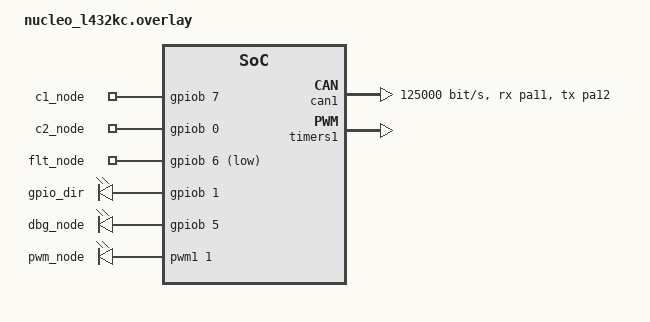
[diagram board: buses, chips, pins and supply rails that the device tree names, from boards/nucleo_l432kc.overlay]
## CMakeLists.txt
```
# SPDX-License-Identifier: Apache-2.0

cmake_minimum_required(VERSION 3.20.0)
find_package(Zephyr REQUIRED HINTS $ENV{ZEPHYR_BASE})
project(project4_canopen LANGUAGES C CXX)

target_sources(app PRIVATE
    src/main.cpp
    src/canopen.cpp
    src/state_machine.cpp
    src/zephyr_can_adapter.cpp
    src/motor_application.cpp
    ../lib/controllers/controllers.cpp
)

target_include_directories(app PRIVATE
    include
    ../lib/controllers
)

target_compile_options(app PRIVATE
    $<$<COMPILE_LANGUAGE:CXX>:-std=c++17>
)
```

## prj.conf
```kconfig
CONFIG_CPP=y
CONFIG_REQUIRES_FULL_LIBCPP=y
CONFIG_GLIBCXX_LIBCPP=y
CONFIG_GPIO=y
CONFIG_PWM=y
CONFIG_CAN=y
CONFIG_FPU=y

CONFIG_LOG=y
CONFIG_LOG_DEFAULT_LEVEL=3

CONFIG_MAIN_STACK_SIZE=4096
CONFIG_SYSTEM_WORKQUEUE_STACK_SIZE=2048

CONFIG_CPP_EXCEPTIONS=n
CONFIG_CPP_RTTI=n
```

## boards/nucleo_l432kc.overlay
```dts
#include <zephyr/dt-bindings/gpio/gpio.h>   /* GPIO_ACTIVE_LOW, GPIO_PULL_UP */
#include <zephyr/dt-bindings/pwm/pwm.h>   /* PWM_MSEC, PWM_POLARITY_NORMAL */

/ {
	chosen {
		zephyr,canbus = &can1;
	};

	aliases {
		c1-pin = &c1_node;
		c2-pin = &c2_node;
		pwm-pin = &pwm_node;
		gpio-dir = &gpio_dir;
		flt-pin = &flt_node;
		dbg-pin = &dbg_node;
	};

	inputs {
		compatible = "gpio-keys";
		c1_node: pin_b7 { /* d4 */
			gpios = <&gpiob 7 (GPIO_ACTIVE_HIGH | GPIO_PULL_UP)>;
		};
		c2_node: pin_b0 { /* d3 */
			gpios = <&gpiob 0 (GPIO_ACTIVE_HIGH | GPIO_PULL_UP)>;
		};

		flt_node: pin_b6 { /* d5 */
			gpios = <&gpiob 6 (GPIO_ACTIVE_LOW | GPIO_PULL_UP)>;
		};
	};

	gpio_outputs {
		compatible = "gpio-leds";

		gpio_dir: gpio_dir { /* d6 */
			gpios = <&gpiob 1 (GPIO_ACTIVE_HIGH)>;
		};

		dbg_node: dbg_node { /* d11, ISR latency measurement */
			gpios = <&gpiob 5 (GPIO_ACTIVE_HIGH)>;
		};
	};

	pwm_outputs {
		compatible = "pwm-leds";

		pwm_node: pwm_node {
			pwms = <&pwm1 1 PWM_USEC(120) PWM_POLARITY_NORMAL>; /* D9, 8.33 kHz */
		};
	};
};

&can1 {
	status = "okay";
	pinctrl-0 = <&can1_rx_pa11 &can1_tx_pa12>;
	pinctrl-names = "default";
	bitrate = <125000>;
};

&timers1 {
	status = "okay";
	st,prescaler = <0>;

	pwm1: pwm {
		status = "okay";
		pinctrl-0 = <&tim1_ch1_pa8>;
		pinctrl-names = "default";
	};
};
```

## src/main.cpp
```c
#include "canopen.hpp"
#include "motor_application.hpp"
#include "state_machine.hpp"
#include "zephyr_can_adapter.hpp"

#include <atomic>

#include <zephyr/kernel.h>
#include <zephyr/logging/log.h>

LOG_MODULE_REGISTER(project4, LOG_LEVEL_INF);

namespace {

constexpr std::uint32_t kCanBitrate = 125000;
constexpr std::uint16_t kTpdoDivider = 20;  // 1 kHz / 20 = 50 Hz

std::atomic<std::uint32_t> pending_control_updates{0};

void control_timer_expired(k_timer*) {
    pending_control_updates.fetch_add(1, std::memory_order_relaxed);
}

K_TIMER_DEFINE(control_timer, control_timer_expired, nullptr);

}  // namespace

int main() {
    canopen::ProcessData process_data{};
    MotorApplication application(process_data);
    if (!application.init()) {
        LOG_ERR("Motor application initialization failed");
        return 0;
    }

    ZephyrCanAdapter can;
    if (!can.init(kCanBitrate)) {
        LOG_ERR("CAN initialization failed");
        return 0;
    }

    MotorStateMachine nmt(application);
    canopen::ObjectDictionary dictionary(process_data, nmt);
    canopen::CanopenNode node(can, nmt, dictionary, process_data,
                              kTpdoDivider);

    node.start();
    k_timer_start(&control_timer, K_MSEC(1), K_MSEC(1));
    LOG_INF("CANopen node %u ready", canopen::kNodeId);

    while (true) {
        const std::uint32_t updates =
            pending_control_updates.exchange(0, std::memory_order_relaxed);
        for (std::uint32_t i = 0; i < updates; ++i) {
            application.control_update();
            node.on_control_update();
        }

        canopen::CanFrame frame{};
        while (can.receive(frame)) {
            node.process(frame);
        }

        if (application.fault_active()) {
            nmt.fault();
        }

        k_msleep(1);
    }

    return 0;
}
```

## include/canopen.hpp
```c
#pragma once

#include <array>
#include <cstddef>
#include <cstdint>

namespace canopen {

constexpr std::uint8_t kNodeId = 1;
constexpr std::uint32_t kCobNmt = 0x000;
constexpr std::uint32_t kCobTpdo1 = 0x180 + kNodeId;
constexpr std::uint32_t kCobRpdo1 = 0x200 + kNodeId;
constexpr std::uint32_t kCobSdoResponse = 0x580 + kNodeId;
constexpr std::uint32_t kCobSdoRequest = 0x600 + kNodeId;
constexpr std::uint32_t kCobBootup = 0x700 + kNodeId;

constexpr std::uint32_t kAbortCommand = 0x05040001;
constexpr std::uint32_t kAbortReadOnly = 0x06010002;
constexpr std::uint32_t kAbortObjectMissing = 0x06020000;
constexpr std::uint32_t kAbortTypeMismatch = 0x06070010;
constexpr std::uint32_t kAbortValueRange = 0x06090030;
constexpr std::uint32_t kAbortPresentState = 0x08000022;

struct CanFrame {
    std::uint32_t id = 0;
    std::uint8_t dlc = 0;
    std::array<std::uint8_t, 8> data{};
};

class ICan {
public:
    virtual ~ICan() = default;
    virtual bool send(const CanFrame& frame) = 0;
};

enum class NmtState : std::uint8_t {
    Initializing = 0x00,
    Stopped = 0x04,
    Operational = 0x05,
    PreOperational = 0x7f,
};

enum class NmtCommand : std::uint8_t {
    Start = 0x01,
    Stop = 0x02,
    EnterPreOperational = 0x80,
    ResetNode = 0x81,
    ResetCommunication = 0x82,
};

class INmtStateMachine {
public:
    virtual ~INmtStateMachine() = default;
    virtual void start() = 0;
    virtual bool handle_command(std::uint8_t command) = 0;
    virtual void fault() = 0;
    virtual NmtState state() const = 0;
};

struct ProcessData {
    std::uint32_t device_type = 0;
    std::uint8_t controller_type = 1;
    float kp = 40.0F;
    float ti = 0.1F;
    std::int16_t output_duty_tenths_percent = 0;
    std::int32_t velocity_actual_rpm = 0;
    std::uint32_t profile_acceleration_rpm_s = 0;
    std::uint32_t profile_deceleration_rpm_s = 0;
    std::int32_t target_velocity_rpm = 0;
};

struct DictionaryResult {
    bool ok = false;
    std::uint32_t abort_code = 0;
    std::uint8_t size = 0;
    std::array<std::uint8_t, 4> data{};
};

class ObjectDictionary {
public:
    ObjectDictionary(ProcessData& process_data, const INmtStateMachine& nmt);

    DictionaryResult read(std::uint16_t index, std::uint8_t subindex) const;
    DictionaryResult write(std::uint16_t index,
                           std::uint8_t subindex,
                           const std::uint8_t* data,
                           std::uint8_t size);
    void reset_application_defaults();
    void reset_communication_values();

private:
    bool configuration_write_allowed() const;

    ProcessData& process_data_;
    const INmtStateMachine& nmt_;
};

class CanopenNode {
public:
    CanopenNode(ICan& can,
                INmtStateMachine& nmt,
                ObjectDictionary& dictionary,
                ProcessData& process_data,
                std::uint16_t tpdo_divider = 20);

    void start();
    void process(const CanFrame& frame);
    void on_control_update();

private:
    void process_nmt(const CanFrame& frame);
    void process_sdo(const CanFrame& frame);
    void process_rpdo1(const CanFrame& frame);
    void send_bootup();
    void send_tpdo1();
    void send_sdo_upload(std::uint16_t index,
                         std::uint8_t subindex,
                         const DictionaryResult& result);
    void send_sdo_download_ack(std::uint16_t index, std::uint8_t subindex);
    void send_sdo_abort(std::uint16_t index,
                        std::uint8_t subindex,
                        std::uint32_t abort_code);

    ICan& can_;
    INmtStateMachine& nmt_;
    ObjectDictionary& dictionary_;
    ProcessData& process_data_;
    std::uint16_t tpdo_divider_;
    std::uint16_t control_updates_ = 0;
};

std::uint16_t decode_u16(const std::uint8_t* bytes);
std::uint32_t decode_u32(const std::uint8_t* bytes);
void encode_u16(std::uint16_t value, std::uint8_t* bytes);
void encode_u32(std::uint32_t value, std::uint8_t* bytes);

}  // namespace canopen
```

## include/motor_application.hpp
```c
#pragma once

#include "canopen.hpp"
#include "state_machine.hpp"

#include <atomic>
#include <cstdint>

#include <zephyr/drivers/gpio.h>
#include <zephyr/drivers/pwm.h>

class EncoderHardware {
public:
    bool init();
    std::int32_t position() const;
    std::int32_t sample_speed_rpm();
    void reset();

private:
    static void interrupt_handler(const device* port,
                                  gpio_callback* callback,
                                  gpio_port_pins_t pins);
    void on_edge();

    gpio_callback callback_{};
    std::atomic<std::int32_t> position_{0};
    std::int32_t history_[10]{};
    std::uint8_t history_index_ = 0;
};

class MotorHardware {
public:
    bool init();
    void set_output(double command);
    void coast();
    void brake();
    bool fault_active() const;
    void set_led(bool on);
    void toggle_led();
    std::int16_t duty_tenths_percent() const;

private:
    double applied_command_ = 0.0;
};

class MotorApplication final : public INmtHooks {
public:
    explicit MotorApplication(canopen::ProcessData& process_data);

    bool init();
    void control_update();
    bool fault_active() const;

    void on_state_changed(canopen::NmtState state) override;
    void on_reset_node() override;
    void on_reset_communication() override;

private:
    void update_state_led();

    canopen::ProcessData& process_data_;
    EncoderHardware encoder_;
    MotorHardware motor_;
    canopen::NmtState state_ = canopen::NmtState::Initializing;
    std::uint16_t led_ticks_ = 0;
};
```

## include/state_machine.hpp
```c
#pragma once

#include "canopen.hpp"

class INmtHooks {
public:
    virtual ~INmtHooks() = default;
    virtual void on_state_changed(canopen::NmtState state) = 0;
    virtual void on_reset_node() = 0;
    virtual void on_reset_communication() = 0;
};

class MotorStateMachine final : public canopen::INmtStateMachine {
public:
    explicit MotorStateMachine(INmtHooks& hooks);

    void start() override;
    bool handle_command(std::uint8_t command) override;
    void fault() override;
    canopen::NmtState state() const override;

private:
    void transition_to(canopen::NmtState next);

    INmtHooks& hooks_;
    canopen::NmtState state_ = canopen::NmtState::Initializing;
};
```

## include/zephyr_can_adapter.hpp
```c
#pragma once

#include "canopen.hpp"

#include <zephyr/device.h>

class ZephyrCanAdapter final : public canopen::ICan {
public:
    bool init(std::uint32_t bitrate);
    bool send(const canopen::CanFrame& frame) override;
    bool receive(canopen::CanFrame& frame);

private:
    bool add_filter(std::uint32_t id);

    const device* device_ = nullptr;
};
```

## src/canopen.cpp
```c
#include "canopen.hpp"

#include <cstring>

namespace canopen {
namespace {

constexpr std::uint16_t kDeviceType = 0x1000;
constexpr std::uint16_t kControllerType = 0x2000;
constexpr std::uint16_t kKp = 0x2001;
constexpr std::uint16_t kTi = 0x2002;
constexpr std::uint16_t kOutputDuty = 0x2010;
constexpr std::uint16_t kVelocityActual = 0x606c;
constexpr std::uint16_t kProfileAcceleration = 0x6083;
constexpr std::uint16_t kProfileDeceleration = 0x6084;
constexpr std::uint16_t kTargetVelocity = 0x60ff;

DictionaryResult abort_result(std::uint32_t code) {
    DictionaryResult result{};
    result.abort_code = code;
    return result;
}

DictionaryResult value_u8(std::uint8_t value) {
    DictionaryResult result{};
    result.ok = true;
    result.size = 1;
    result.data[0] = value;
    return result;
}

DictionaryResult value_u16(std::uint16_t value) {
    DictionaryResult result{};
    result.ok = true;
    result.size = 2;
    encode_u16(value, result.data.data());
    return result;
}

DictionaryResult value_u32(std::uint32_t value) {
    DictionaryResult result{};
    result.ok = true;
    result.size = 4;
    encode_u32(value, result.data.data());
    return result;
}

DictionaryResult value_float(float value) {
    static_assert(sizeof(float) == sizeof(std::uint32_t));
    std::uint32_t bits = 0;
    std::memcpy(&bits, &value, sizeof(bits));
    return value_u32(bits);
}

bool expect_size(std::uint8_t actual, std::uint8_t expected) {
    return actual == expected;
}

}  // namespace

std::uint16_t decode_u16(const std::uint8_t* bytes) {
    return static_cast<std::uint16_t>(bytes[0]) |
           (static_cast<std::uint16_t>(bytes[1]) << 8U);
}

std::uint32_t decode_u32(const std::uint8_t* bytes) {
    return static_cast<std::uint32_t>(bytes[0]) |
           (static_cast<std::uint32_t>(bytes[1]) << 8U) |
           (static_cast<std::uint32_t>(bytes[2]) << 16U) |
           (static_cast<std::uint32_t>(bytes[3]) << 24U);
}

void encode_u16(std::uint16_t value, std::uint8_t* bytes) {
    bytes[0] = static_cast<std::uint8_t>(value);
    bytes[1] = static_cast<std::uint8_t>(value >> 8U);
}

void encode_u32(std::uint32_t value, std::uint8_t* bytes) {
    bytes[0] = static_cast<std::uint8_t>(value);
    bytes[1] = static_cast<std::uint8_t>(value >> 8U);
    bytes[2] = static_cast<std::uint8_t>(value >> 16U);
    bytes[3] = static_cast<std::uint8_t>(value >> 24U);
}

ObjectDictionary::ObjectDictionary(ProcessData& process_data,
                                   const INmtStateMachine& nmt)
    : process_data_(process_data), nmt_(nmt) {}

DictionaryResult ObjectDictionary::read(std::uint16_t index,
                                        std::uint8_t subindex) const {
    if (subindex != 0) {
        return abort_result(kAbortObjectMissing);
    }

    switch (index) {
        case kDeviceType:
            return value_u32(process_data_.device_type);
        case kControllerType:
            return value_u8(process_data_.controller_type);
        case kKp:
            return value_float(process_data_.kp);
        case kTi:
            return value_float(process_data_.ti);
        case kOutputDuty:
            return value_u16(static_cast<std::uint16_t>(
                process_data_.output_duty_tenths_percent));
        case kVelocityActual:
            return value_u32(
                static_cast<std::uint32_t>(process_data_.velocity_actual_rpm));
        case kProfileAcceleration:
            return value_u32(process_data_.profile_acceleration_rpm_s);
        case kProfileDeceleration:
            return value_u32(process_data_.profile_deceleration_rpm_s);
        case kTargetVelocity:
            return value_u32(
                static_cast<std::uint32_t>(process_data_.target_velocity_rpm));
        default:
            return abort_result(kAbortObjectMissing);
    }
}

DictionaryResult ObjectDictionary::write(std::uint16_t index,
                                         std::uint8_t subindex,
                                         const std::uint8_t* data,
                                         std::uint8_t size) {
    if (subindex != 0) {
        return abort_result(kAbortObjectMissing);
    }

    const bool configuration_object =
        index == kControllerType || index == kKp || index == kTi ||
        index == kProfileAcceleration || index == kProfileDeceleration;
    if (configuration_object && !configuration_write_allowed()) {
        return abort_result(kAbortPresentState);
    }

    switch (index) {
        case kControllerType:
            if (!expect_size(size, 1)) {
                return abort_result(kAbortTypeMismatch);
            }
            if (data[0] > 1) {
                return abort_result(kAbortValueRange);
            }
            process_data_.controller_type = data[0];
            break;
        case kKp: {
            if (!expect_size(size, 4)) {
                return abort_result(kAbortTypeMismatch);
            }
            const std::uint32_t bits = decode_u32(data);
            std::memcpy(&process_data_.kp, &bits, sizeof(bits));
            break;
        }
        case kTi: {
            if (!expect_size(size, 4)) {
                return abort_result(kAbortTypeMismatch);
            }
            const std::uint32_t bits = decode_u32(data);
            std::memcpy(&process_data_.ti, &bits, sizeof(bits));
            break;
        }
        case kProfileAcceleration:
            if (!expect_size(size, 4)) {
                return abort_result(kAbortTypeMismatch);
            }
            process_data_.profile_acceleration_rpm_s = decode_u32(data);
            break;
        case kProfileDeceleration:
            if (!expect_size(size, 4)) {
                return abort_result(kAbortTypeMismatch);
            }
            process_data_.profile_deceleration_rpm_s = decode_u32(data);
            break;
        case kTargetVelocity:
            if (!expect_size(size, 4)) {
                return abort_result(kAbortTypeMismatch);
            }
            process_data_.target_velocity_rpm =
                static_cast<std::int32_t>(decode_u32(data));
            break;
        case kDeviceType:
        case kOutputDuty:
        case kVelocityActual:
            return abort_result(kAbortReadOnly);
        default:
            return abort_result(kAbortObjectMissing);
    }

    DictionaryResult result{};
    result.ok = true;
    return result;
}

void ObjectDictionary::reset_application_defaults() {
    process_data_ = ProcessData{};
}

void ObjectDictionary::reset_communication_values() {
    process_data_.target_velocity_rpm = 0;
    process_data_.output_duty_tenths_percent = 0;
}

bool ObjectDictionary::configuration_write_allowed() const {
    return nmt_.state() == NmtState::PreOperational;
}

CanopenNode::CanopenNode(ICan& can,
                         INmtStateMachine& nmt,
                         ObjectDictionary& dictionary,
                         ProcessData& process_data,
                         std::uint16_t tpdo_divider)
    : can_(can),
      nmt_(nmt),
      dictionary_(dictionary),
      process_data_(process_data),
      tpdo_divider_(tpdo_divider == 0 ? 1 : tpdo_divider) {}

void CanopenNode::start() {
    nmt_.start();
    send_bootup();
}

void CanopenNode::process(const CanFrame& frame) {
    switch (frame.id) {
        case kCobNmt:
            process_nmt(frame);
            break;
        case kCobSdoRequest:
            process_sdo(frame);
            break;
        case kCobRpdo1:
            process_rpdo1(frame);
            break;
        default:
            break;
    }
}

void CanopenNode::on_control_update() {
    if (nmt_.state() != NmtState::Operational) {
        control_updates_ = 0;
        return;
    }

    ++control_updates_;
    if (control_updates_ >= tpdo_divider_) {
        control_updates_ = 0;
        send_tpdo1();
    }
}

void CanopenNode::process_nmt(const CanFrame& frame) {
    if (frame.dlc < 2 || (frame.data[1] != 0 && frame.data[1] != kNodeId)) {
        return;
    }

    if (frame.data[0] == static_cast<std::uint8_t>(NmtCommand::ResetNode)) {
        dictionary_.reset_application_defaults();
    } else if (frame.data[0] ==
               static_cast<std::uint8_t>(NmtCommand::ResetCommunication)) {
        dictionary_.reset_communication_values();
    }

    if (nmt_.handle_command(frame.data[0])) {
        control_updates_ = 0;
        send_bootup();
    }
}

void CanopenNode::process_sdo(const CanFrame& frame) {
    if (frame.dlc != 8 ||
        (nmt_.state() != NmtState::PreOperational &&
         nmt_.state() != NmtState::Operational)) {
        return;
    }

    const std::uint8_t command = frame.data[0];
    const std::uint16_t index = decode_u16(&frame.data[1]);
    const std::uint8_t subindex = frame.data[3];

    if (command == 0x40) {
        const DictionaryResult result = dictionary_.read(index, subindex);
        if (result.ok) {
            send_sdo_upload(index, subindex, result);
        } else {
            send_sdo_abort(index, subindex, result.abort_code);
        }
        return;
    }

    const bool download = (command & 0xe0U) == 0x20U;
    const bool expedited = (command & 0x02U) != 0;
    const bool size_indicated = (command & 0x01U) != 0;
    if (!download || !expedited || !size_indicated) {
        send_sdo_abort(index, subindex, kAbortCommand);
        return;
    }

    const std::uint8_t unused = (command >> 2U) & 0x03U;
    const std::uint8_t size = 4U - unused;
    const DictionaryResult result =
        dictionary_.write(index, subindex, &frame.data[4], size);
    if (result.ok) {
        send_sdo_download_ack(index, subindex);
    } else {
        send_sdo_abort(index, subindex, result.abort_code);
    }
}

void CanopenNode::process_rpdo1(const CanFrame& frame) {
    if (nmt_.state() != NmtState::Operational || frame.dlc < 4) {
        return;
    }
    process_data_.target_velocity_rpm =
        static_cast<std::int32_t>(decode_u32(frame.data.data()));
}

void CanopenNode::send_bootup() {
    CanFrame frame{};
    frame.id = kCobBootup;
    frame.dlc = 1;
    frame.data[0] = 0;
    can_.send(frame);
}

void CanopenNode::send_tpdo1() {
    CanFrame frame{};
    frame.id = kCobTpdo1;
    frame.dlc = 6;
    encode_u32(static_cast<std::uint32_t>(process_data_.velocity_actual_rpm),
               frame.data.data());
    encode_u16(
        static_cast<std::uint16_t>(process_data_.output_duty_tenths_percent),
        &frame.data[4]);
    can_.send(frame);
}

void CanopenNode::send_sdo_upload(std::uint16_t index,
                                  std::uint8_t subindex,
                                  const DictionaryResult& result) {
    CanFrame frame{};
    frame.id = kCobSdoResponse;
    frame.dlc = 8;
    const std::uint8_t unused = 4U - result.size;
    frame.data[0] = static_cast<std::uint8_t>(0x43U | (unused << 2U));
    encode_u16(index, &frame.data[1]);
    frame.data[3] = subindex;
    for (std::uint8_t i = 0; i < result.size; ++i) {
        frame.data[4 + i] = result.data[i];
    }
    can_.send(frame);
}

void CanopenNode::send_sdo_download_ack(std::uint16_t index,
                                        std::uint8_t subindex) {
    CanFrame frame{};
    frame.id = kCobSdoResponse;
    frame.dlc = 8;
    frame.data[0] = 0x60;
    encode_u16(index, &frame.data[1]);
    frame.data[3] = subindex;
    can_.send(frame);
}

void CanopenNode::send_sdo_abort(std::uint16_t index,
                                 std::uint8_t subindex,
                                 std::uint32_t abort_code) {
    CanFrame frame{};
    frame.id = kCobSdoResponse;
    frame.dlc = 8;
    frame.data[0] = 0x80;
    encode_u16(index, &frame.data[1]);
    frame.data[3] = subindex;
    encode_u32(abort_code, &frame.data[4]);
    can_.send(frame);
}

}  // namespace canopen
```

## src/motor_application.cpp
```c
#include "motor_application.hpp"

#include <controllers.h>

#include <zephyr/devicetree.h>
#include <zephyr/logging/log.h>
#include <zephyr/sys/util.h>

#include <algorithm>
#include <cmath>

LOG_MODULE_REGISTER(motor_application, LOG_LEVEL_INF);

namespace {

constexpr float kCountsPerRevolution = 2100.0F;
constexpr float kSpeedWindowMs = 10.0F;

const gpio_dt_spec c1 = GPIO_DT_SPEC_GET(DT_ALIAS(c1_pin), gpios);
const gpio_dt_spec c2 = GPIO_DT_SPEC_GET(DT_ALIAS(c2_pin), gpios);
const gpio_dt_spec fault = GPIO_DT_SPEC_GET(DT_ALIAS(flt_pin), gpios);
const gpio_dt_spec direction = GPIO_DT_SPEC_GET(DT_ALIAS(gpio_dir), gpios);
const gpio_dt_spec status_led = GPIO_DT_SPEC_GET(DT_ALIAS(led0), gpios);
const pwm_dt_spec motor_pwm = PWM_DT_SPEC_GET(DT_ALIAS(pwm_pin));

bool gpio_ready(const gpio_dt_spec& spec, const char* name) {
    if (!gpio_is_ready_dt(&spec)) {
        LOG_ERR("GPIO %s is not ready", name);
        return false;
    }
    return true;
}

}  // namespace

bool EncoderHardware::init() {
    if (!gpio_ready(c1, "C1") || !gpio_ready(c2, "C2")) {
        return false;
    }
    if (gpio_pin_configure_dt(&c1, GPIO_INPUT) != 0 ||
        gpio_pin_configure_dt(&c2, GPIO_INPUT) != 0) {
        LOG_ERR("Cannot configure encoder inputs");
        return false;
    }

    gpio_init_callback(&callback_, &EncoderHardware::interrupt_handler,
                       BIT(c1.pin));
    if (gpio_add_callback(c1.port, &callback_) != 0 ||
        gpio_pin_interrupt_configure_dt(&c1, GPIO_INT_EDGE_BOTH) != 0) {
        LOG_ERR("Cannot configure C1 interrupt");
        return false;
    }

    reset();
    return true;
}

std::int32_t EncoderHardware::position() const {
    return position_.load(std::memory_order_relaxed);
}

std::int32_t EncoderHardware::sample_speed_rpm() {
    const std::int32_t current = position();
    const std::int32_t delta = current - history_[history_index_];
    history_[history_index_] = current;
    history_index_ = (history_index_ + 1U) % 10U;

    const float rpm =
        (static_cast<float>(delta) / kSpeedWindowMs) /
        kCountsPerRevolution * 60000.0F;
    return static_cast<std::int32_t>(std::lround(rpm));
}

void EncoderHardware::reset() {
    position_.store(0, std::memory_order_relaxed);
    for (std::int32_t& sample : history_) {
        sample = 0;
    }
    history_index_ = 0;
}

void EncoderHardware::interrupt_handler(const device*,
                                        gpio_callback* callback,
                                        gpio_port_pins_t) {
    auto* encoder = CONTAINER_OF(callback, EncoderHardware, callback_);
    encoder->on_edge();
}

void EncoderHardware::on_edge() {
    const int c1_level = gpio_pin_get_dt(&c1);
    const int c2_level = gpio_pin_get_dt(&c2);
    if (c1_level < 0 || c2_level < 0) {
        return;
    }
    position_.fetch_add(c1_level == c2_level ? 1 : -1,
                        std::memory_order_relaxed);
}

bool MotorHardware::init() {
    if (!gpio_ready(fault, "FLT") || !gpio_ready(direction, "direction") ||
        !gpio_ready(status_led, "led0") || !pwm_is_ready_dt(&motor_pwm)) {
        LOG_ERR("Motor hardware is not ready");
        return false;
    }

    if (gpio_pin_configure_dt(&fault, GPIO_INPUT) != 0 ||
        gpio_pin_configure_dt(&direction, GPIO_OUTPUT_INACTIVE) != 0 ||
        gpio_pin_configure_dt(&status_led, GPIO_OUTPUT_INACTIVE) != 0) {
        LOG_ERR("Cannot configure motor GPIO");
        return false;
    }

    coast();
    return true;
}

void MotorHardware::set_output(double command) {
    applied_command_ = command;
    if (applied_command_ > 255.0) {
        applied_command_ = 255.0;
    } else if (applied_command_ < -255.0) {
        applied_command_ = -255.0;
    }
    const double magnitude = std::fabs(applied_command_) / 255.0;

    std::uint32_t pulse = 0;
    if (applied_command_ >= 0.0) {
        gpio_pin_set_dt(&direction, 0);
        pulse = static_cast<std::uint32_t>(motor_pwm.period * magnitude);
    } else {
        gpio_pin_set_dt(&direction, 1);
        pulse = static_cast<std::uint32_t>(motor_pwm.period * (1.0 - magnitude));
    }
    pwm_set_pulse_dt(&motor_pwm, pulse);
}

void MotorHardware::coast() {
    applied_command_ = 0.0;
    gpio_pin_set_dt(&direction, 0);
    pwm_set_pulse_dt(&motor_pwm, 0);
}

void MotorHardware::brake() {
    applied_command_ = 0.0;
    gpio_pin_set_dt(&direction, 1);
    pwm_set_pulse_dt(&motor_pwm, motor_pwm.period);
}

bool MotorHardware::fault_active() const {
    return gpio_pin_get_dt(&fault) > 0;
}

void MotorHardware::set_led(bool on) {
    gpio_pin_set_dt(&status_led, on ? 1 : 0);
}

void MotorHardware::toggle_led() {
    gpio_pin_toggle_dt(&status_led);
}

std::int16_t MotorHardware::duty_tenths_percent() const {
    return static_cast<std::int16_t>(
        std::lround(applied_command_ * 1000.0 / 255.0));
}

MotorApplication::MotorApplication(canopen::ProcessData& process_data)
    : process_data_(process_data) {}

bool MotorApplication::init() {
    return encoder_.init() && motor_.init();
}

void MotorApplication::control_update() {
    process_data_.velocity_actual_rpm = encoder_.sample_speed_rpm();

    if (state_ == canopen::NmtState::Operational) {
        Controller* controller = process_data_.controller_type == 0 ?
                                     static_cast<Controller*>(&p) :
                                     static_cast<Controller*>(&pi);
        controller->Kp = process_data_.kp;
        if (process_data_.ti > 0.0F) {
            pi.Ti = process_data_.ti;
        }

        const double command = controller->update(
            static_cast<double>(process_data_.target_velocity_rpm),
            static_cast<double>(process_data_.velocity_actual_rpm));
        motor_.set_output(command);
        process_data_.output_duty_tenths_percent =
            motor_.duty_tenths_percent();
    } else {
        process_data_.output_duty_tenths_percent = 0;
    }

    update_state_led();
}

bool MotorApplication::fault_active() const {
    return motor_.fault_active();
}

void MotorApplication::on_state_changed(canopen::NmtState state) {
    state_ = state;
    led_ticks_ = 0;

    switch (state_) {
        case canopen::NmtState::Operational:
            p.reset();
            pi.reset();
            motor_.set_led(true);
            break;
        case canopen::NmtState::Stopped:
            motor_.brake();
            motor_.set_led(false);
            break;
        case canopen::NmtState::Initializing:
        case canopen::NmtState::PreOperational:
            motor_.coast();
            motor_.set_led(false);
            break;
    }

    LOG_INF("NMT state 0x%02x", static_cast<unsigned>(state_));
}

void MotorApplication::on_reset_node() {
    encoder_.reset();
    motor_.coast();
}

void MotorApplication::on_reset_communication() {
    motor_.coast();
}

void MotorApplication::update_state_led() {
    if (state_ == canopen::NmtState::PreOperational) {
        if (++led_ticks_ >= 500) {
            led_ticks_ = 0;
            motor_.toggle_led();
        }
    } else if (state_ == canopen::NmtState::Stopped) {
        if (++led_ticks_ >= 250) {
            led_ticks_ = 0;
            motor_.toggle_led();
        }
    }
}
```

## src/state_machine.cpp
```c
#include "state_machine.hpp"

MotorStateMachine::MotorStateMachine(INmtHooks& hooks) : hooks_(hooks) {}

void MotorStateMachine::start() {
    state_ = canopen::NmtState::Initializing;
    hooks_.on_state_changed(state_);
    transition_to(canopen::NmtState::PreOperational);
}

bool MotorStateMachine::handle_command(std::uint8_t command_byte) {
    switch (static_cast<canopen::NmtCommand>(command_byte)) {
        case canopen::NmtCommand::Start:
            transition_to(canopen::NmtState::Operational);
            return false;
        case canopen::NmtCommand::Stop:
            transition_to(canopen::NmtState::Stopped);
            return false;
        case canopen::NmtCommand::EnterPreOperational:
            transition_to(canopen::NmtState::PreOperational);
            return false;
        case canopen::NmtCommand::ResetNode:
            transition_to(canopen::NmtState::Initializing);
            hooks_.on_reset_node();
            transition_to(canopen::NmtState::PreOperational);
            return true;
        case canopen::NmtCommand::ResetCommunication:
            transition_to(canopen::NmtState::Initializing);
            hooks_.on_reset_communication();
            transition_to(canopen::NmtState::PreOperational);
            return true;
        default:
            return false;
    }
}

void MotorStateMachine::fault() {
    transition_to(canopen::NmtState::Stopped);
}

canopen::NmtState MotorStateMachine::state() const {
    return state_;
}

void MotorStateMachine::transition_to(canopen::NmtState next) {
    if (state_ == next) {
        return;
    }
    state_ = next;
    hooks_.on_state_changed(state_);
}
```

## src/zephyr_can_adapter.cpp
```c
#include "zephyr_can_adapter.hpp"

#include <zephyr/devicetree.h>
#include <zephyr/drivers/can.h>
#include <zephyr/kernel.h>
#include <zephyr/logging/log.h>

#include <cstring>

LOG_MODULE_REGISTER(can_adapter, LOG_LEVEL_INF);

CAN_MSGQ_DEFINE(can_rx_queue, 32);

bool ZephyrCanAdapter::init(std::uint32_t bitrate) {
    device_ = DEVICE_DT_GET(DT_CHOSEN(zephyr_canbus));
    if (!device_is_ready(device_)) {
        LOG_ERR("CAN device is not ready");
        return false;
    }

    int error = can_set_bitrate(device_, bitrate);
    if (error != 0) {
        LOG_ERR("Cannot set CAN bitrate (%d)", error);
        return false;
    }

    error = can_start(device_);
    if (error != 0) {
        LOG_ERR("Cannot start CAN controller (%d)", error);
        return false;
    }

    if (!add_filter(canopen::kCobNmt) ||
        !add_filter(canopen::kCobSdoRequest) ||
        !add_filter(canopen::kCobRpdo1)) {
        return false;
    }

    LOG_INF("CAN started at %u bit/s", bitrate);
    return true;
}

bool ZephyrCanAdapter::send(const canopen::CanFrame& source) {
    if (device_ == nullptr || source.dlc > 8) {
        return false;
    }

    can_frame frame{};
    frame.id = source.id;
    frame.dlc = source.dlc;
    frame.flags = 0;
    std::memcpy(frame.data, source.data.data(), source.dlc);

    const int error = can_send(device_, &frame, K_MSEC(20), nullptr, nullptr);
    if (error != 0) {
        LOG_ERR("CAN send failed: ID 0x%03x (%d)", source.id, error);
        return false;
    }
    return true;
}

bool ZephyrCanAdapter::receive(canopen::CanFrame& destination) {
    can_frame frame{};
    if (k_msgq_get(&can_rx_queue, &frame, K_NO_WAIT) != 0) {
        return false;
    }

    destination = {};
    destination.id = frame.id;
    destination.dlc = frame.dlc;
    std::memcpy(destination.data.data(), frame.data, frame.dlc);
    return true;
}

bool ZephyrCanAdapter::add_filter(std::uint32_t id) {
    can_filter filter{};
    filter.id = id;
    filter.mask = CAN_STD_ID_MASK;
    filter.flags = 0;

    const int filter_id =
        can_add_rx_filter_msgq(device_, &can_rx_queue, &filter);
    if (filter_id < 0) {
        LOG_ERR("Cannot add CAN filter 0x%03x (%d)", id, filter_id);
        return false;
    }
    return true;
}
```
